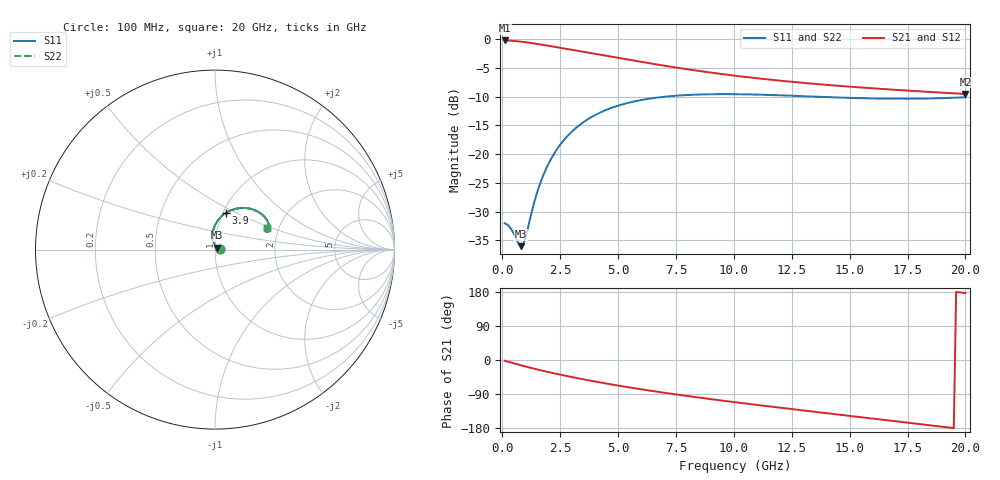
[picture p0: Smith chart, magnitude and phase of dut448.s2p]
! Touchstone file exported from HFSS 2024.1.0
!  File:  C:/UserFiles/LocalFiles/RDL_TSV_Batchsim/temp_RDL_TSV_448_1779724517.aedt
!  Generated:  12:10:15 AM May 26, 2026
!  Design:  RDL_TSV
!  Project:  temp_RDL_TSV_448_1779724517
!  Setup:  Setup1
!  Solution:  Sweep
! Variables:
!  dtsv = 12.73um
!  hbump = 3um
!  htsv = 77.72um
!  ldown = 609.54um
!  lrdl = 130.63um
!  p = 40
!  p1 = 52.73um
!  rhole = 10um
!  subl = 2351.14um
!  t = 450um
!  tdown = 2.14um
!  trdl = 4.45um
!  viad = 10um
!  wdown = 12.87um
!  wrdl = 17.85um
!  xbump = 18um
# GHz S MA R 50.000000
! Terminal data exported
! Port[1] = TM1_1_T1
! Port[2] = TM1_4_T1
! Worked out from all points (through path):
!   200 points, 100 MHz to 20 GHz, reference 50 ohm
!   highest |S21| = -0.23 dB at 100 MHz (marker M1); lowest = -9.5 dB at 20 GHz (marker M2)
!   group delay of S21, straight-line fit = 23.6 ps
!   lowest |S11| = -36.0 dB at 800 MHz (marker M3), VSWR 1.03, Z = 51.1 + j1.13 ohm
!   |S11| at or under -10 dB: start of sweep to 7.032 GHz; 13.56 GHz to end of sweep
!   |S22| runs from -36.0 to -9.6 dB; largest |S21 - S12| = 1.2e-14
!   S11 on the Smith chart (normalised r, x): 100 MHz: 1.05, +0.00; 3.9 GHz: 1.03, +0.44; 20 GHz: 1.74, +0.46
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0.1  0.02513 1.7  0.9742 -1.8  0.9742 -1.8  0.02513 1.7
! Gamma 0 0 0 0
! Port Impedance 50 0 50 0
0.4  0.0221 8.6  0.9679 -7.1  0.9679 -7.1  0.0221 8.6
0.7  0.01672 30.1  0.9562 -12.2  0.9562 -12.2  0.01672 30.1
0.8  0.01587 44.1  0.9514 -13.9  0.9514 -13.9  0.01588 44.1
0.9  0.01647 60.2  0.9461 -15.5  0.9461 -15.5  0.01647 60.2
1  0.01877 74.8  0.9406 -17.2  0.9406 -17.2  0.01878 74.8
1.3  0.03323 97.3  0.9223 -21.8  0.9223 -21.8  0.03322 97.2
1.5  0.0462 101.2  0.9093 -24.8  0.9093 -24.8  0.04618 101.2
1.7  0.06042 101.7  0.8959 -27.8  0.8959 -27.8  0.0604 101.6
2  0.0829 99.4  0.8756 -32.0  0.8756 -32.0  0.08286 99.4
2.3  0.1057 95.7  0.8552 -36.0  0.8552 -36.0  0.1057 95.7
2.7  0.1356 90.1  0.8283 -41.2  0.8283 -41.2  0.1355 90.0
3.5  0.1896 78.7  0.7764 -50.9  0.7764 -50.9  0.1895 78.7
3.9  0.213 73.4  0.7515 -55.6  0.7515 -55.6  0.2129 73.4
5.2  0.2716 58.5  0.6759 -69.5  0.6759 -69.5  0.2714 58.5
6.8  0.3125 44.6  0.5965 -84.8  0.5965 -84.8  0.3122 44.6
8.4  0.3297 34.5  0.5327 -98.4  0.5327 -98.4  0.3294 34.5
10.1  0.3323 27.0  0.48 -111.8  0.48 -111.8  0.3319 26.9
11.7  0.3266 22.3  0.4417 -123.7  0.4417 -123.7  0.3262 22.2
13.4  0.3171 19.5  0.41 -136.0  0.41 -136.0  0.3167 19.4
16.7  0.3035 19.2  0.3657 -159.6  0.3657 -159.6  0.303 19.1
20  0.3127 22.2  0.3337 176.7  0.3337 176.7  0.3122 22.1
